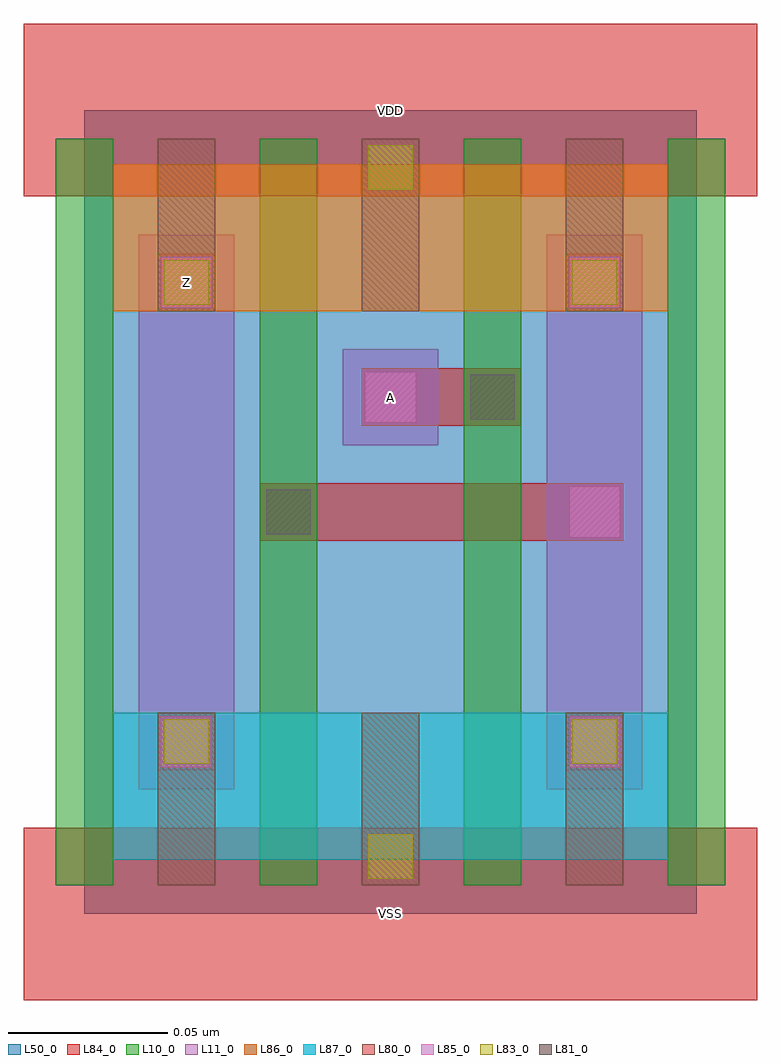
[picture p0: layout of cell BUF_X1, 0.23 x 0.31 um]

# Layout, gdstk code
import gdstk
lib = gdstk.Library(unit=1e-6, precision=1e-09)
def R(c, l, rs):  # rectangles x0, y0, x1, y1
    for r in rs: c.add(gdstk.rectangle(r[:2], r[2:], *l))
def A(c, l, x, y, w, h, nx, ny, dx, dy):  # array of equal rectangles
    R(c, l, [(x+i*dx, y+j*dy, x+i*dx+w, y+j*dy+h) for i in range(nx) for j in range(ny)])
L10_0 = (10, 0)
L11_0 = (11, 0)
L50_0 = (50, 0)
L80_0 = (80, 0)
L81_0 = (81, 0)
L83_0 = (83, 0)
L84_0 = (84, 0)
L85_0 = (85, 0)
L86_0 = (86, 0)
L87_0 = (87, 0)

buf_x1 = lib.new_cell('BUF_X1')
A(buf_x1, L10_0, -0.009, 0.009, 0.018, 0.234, 4, 1, 0.064, 0)
R(buf_x1, L11_0, [(0.017,0.039,0.047,0.213), (0.145,0.039,0.175,0.213), (0.081,0.147,0.111,0.177)])
R(buf_x1, L50_0, [(0,0,0.192,0.252)])
A(buf_x1, L80_0, 0.023, 0.009, 0.018, 0.054, 3, 2, 0.064, 0.18)
R(buf_x1, L81_0, [(0.057,0.119,0.071,0.133), (0.121,0.155,0.135,0.169)])
R(buf_x1, L83_0, [(0.089,0.011,0.103,0.025), (0.025,0.047,0.039,0.061), (0.153,0.047,0.167,0.061), (0.025,0.191,0.039,0.205), (0.153,0.191,0.167,0.205), (0.089,0.227,0.103,0.241)])
R(buf_x1, L84_0, [(-0.019,-0.027,0.211,0.027), (0.023,0.045,0.041,0.063), (0.151,0.045,0.169,0.063), (0.055,0.117,0.169,0.135), (0.087,0.153,0.137,0.171), (0.023,0.189,0.041,0.207), (0.151,0.189,0.169,0.207), (-0.019,0.225,0.211,0.279)])
A(buf_x1, L85_0, 0.152, 0.046, 0.016, 0.016, 1, 3, 0, 0.072)
R(buf_x1, L85_0, [(0.024,0.046,0.04,0.062), (0.088,0.154,0.104,0.17), (0.024,0.19,0.04,0.206)])
R(buf_x1, L86_0, [(0.009,0.189,0.183,0.235)])
R(buf_x1, L87_0, [(0.009,0.017,0.183,0.063)])
buf_x1.add(gdstk.Label('VDD', (0.096,0.252), layer=88, texttype=0))
buf_x1.add(gdstk.Label('VSS', (0.096,0), layer=88, texttype=0))
buf_x1.add(gdstk.Label('Z', (0.032,0.198), layer=31, texttype=0))
buf_x1.add(gdstk.Label('A', (0.096,0.162), layer=31, texttype=0))

lib.write_gds('BUF_X1.gds')
